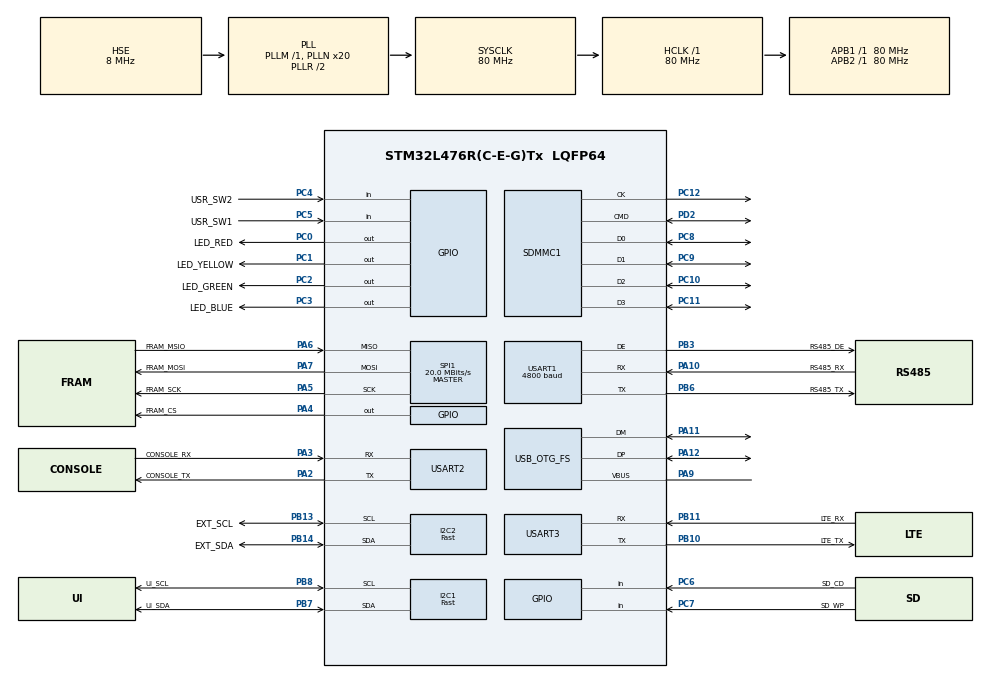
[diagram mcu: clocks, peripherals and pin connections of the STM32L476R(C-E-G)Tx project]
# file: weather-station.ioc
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CRC.CRCLength=CRC_POLYLENGTH_16B
CRC.DefaultInitValueUse=DEFAULT_INIT_VALUE_DISABLE
CRC.DefaultPolynomialUse=DEFAULT_POLYNOMIAL_DISABLE
CRC.GeneratingPolynomial=X15+X2+X0
CRC.InitValue=65535
Dma.Request0=SDMMC1_RX
Dma.Request1=SDMMC1_TX
Dma.Request2=USART1_RX
Dma.Request3=USART1_TX
Dma.Request4=USART2_RX
Dma.Request5=USART2_TX
Dma.Request6=USART3_RX
Dma.Request7=USART3_TX
Dma.SDMMC1_RX.0.Direction=DMA_PERIPH_TO_MEMORY
Dma.SDMMC1_RX.0.Instance=DMA2_Channel4
Dma.SDMMC1_RX.0.MemDataAlignment=DMA_MDATAALIGN_WORD
Dma.SDMMC1_RX.0.MemInc=DMA_MINC_ENABLE
Dma.SDMMC1_RX.0.Mode=DMA_NORMAL
Dma.SDMMC1_RX.0.PeriphDataAlignment=DMA_PDATAALIGN_WORD
Dma.SDMMC1_RX.0.PeriphInc=DMA_PINC_DISABLE
Dma.SDMMC1_RX.0.Priority=DMA_PRIORITY_LOW
Dma.SDMMC1_TX.1.Direction=DMA_MEMORY_TO_PERIPH
Dma.SDMMC1_TX.1.Instance=DMA2_Channel5
Dma.SDMMC1_TX.1.MemDataAlignment=DMA_MDATAALIGN_WORD
Dma.SDMMC1_TX.1.MemInc=DMA_MINC_ENABLE
Dma.SDMMC1_TX.1.Mode=DMA_NORMAL
Dma.SDMMC1_TX.1.PeriphDataAlignment=DMA_PDATAALIGN_WORD
Dma.SDMMC1_TX.1.PeriphInc=DMA_PINC_DISABLE
Dma.SDMMC1_TX.1.Priority=DMA_PRIORITY_LOW
Dma.USART1_RX.2.Direction=DMA_PERIPH_TO_MEMORY
Dma.USART1_RX.2.Instance=DMA1_Channel5
Dma.USART1_RX.2.MemDataAlignment=DMA_MDATAALIGN_BYTE
Dma.USART1_RX.2.MemInc=DMA_MINC_ENABLE
Dma.USART1_RX.2.Mode=DMA_CIRCULAR
Dma.USART1_RX.2.PeriphDataAlignment=DMA_PDATAALIGN_BYTE
Dma.USART1_RX.2.PeriphInc=DMA_PINC_DISABLE
Dma.USART1_RX.2.Priority=DMA_PRIORITY_LOW
Dma.USART1_TX.3.Direction=DMA_MEMORY_TO_PERIPH
Dma.USART1_TX.3.Instance=DMA1_Channel4
Dma.USART1_TX.3.MemDataAlignment=DMA_MDATAALIGN_BYTE
Dma.USART1_TX.3.MemInc=DMA_MINC_ENABLE
Dma.USART1_TX.3.Mode=DMA_NORMAL
Dma.USART1_TX.3.PeriphDataAlignment=DMA_PDATAALIGN_BYTE
Dma.USART1_TX.3.PeriphInc=DMA_PINC_DISABLE
Dma.USART1_TX.3.Priority=DMA_PRIORITY_LOW
Dma.USART2_RX.4.Direction=DMA_PERIPH_TO_MEMORY
Dma.USART2_RX.4.Instance=DMA1_Channel6
Dma.USART2_RX.4.MemDataAlignment=DMA_MDATAALIGN_BYTE
Dma.USART2_RX.4.MemInc=DMA_MINC_ENABLE
Dma.USART2_RX.4.Mode=DMA_CIRCULAR
Dma.USART2_RX.4.PeriphDataAlignment=DMA_PDATAALIGN_BYTE
Dma.USART2_RX.4.PeriphInc=DMA_PINC_DISABLE
Dma.USART2_RX.4.Priority=DMA_PRIORITY_LOW
Dma.USART2_TX.5.Direction=DMA_MEMORY_TO_PERIPH
Dma.USART2_TX.5.Instance=DMA1_Channel7
Dma.USART2_TX.5.MemDataAlignment=DMA_MDATAALIGN_BYTE
Dma.USART2_TX.5.MemInc=DMA_MINC_ENABLE
Dma.USART2_TX.5.Mode=DMA_NORMAL
Dma.USART2_TX.5.PeriphDataAlignment=DMA_PDATAALIGN_BYTE
Dma.USART2_TX.5.PeriphInc=DMA_PINC_DISABLE
Dma.USART2_TX.5.Priority=DMA_PRIORITY_LOW
Dma.USART3_RX.6.Direction=DMA_PERIPH_TO_MEMORY
Dma.USART3_RX.6.Instance=DMA1_Channel3
Dma.USART3_RX.6.MemDataAlignment=DMA_MDATAALIGN_BYTE
Dma.USART3_RX.6.MemInc=DMA_MINC_ENABLE
Dma.USART3_RX.6.Mode=DMA_CIRCULAR
Dma.USART3_RX.6.PeriphDataAlignment=DMA_PDATAALIGN_BYTE
Dma.USART3_RX.6.PeriphInc=DMA_PINC_DISABLE
Dma.USART3_RX.6.Priority=DMA_PRIORITY_LOW
Dma.USART3_TX.7.Direction=DMA_MEMORY_TO_PERIPH
Dma.USART3_TX.7.Instance=DMA1_Channel2
Dma.USART3_TX.7.MemDataAlignment=DMA_MDATAALIGN_BYTE
Dma.USART3_TX.7.MemInc=DMA_MINC_ENABLE
Dma.USART3_TX.7.Mode=DMA_NORMAL
Dma.USART3_TX.7.PeriphDataAlignment=DMA_PDATAALIGN_BYTE
Dma.USART3_TX.7.PeriphInc=DMA_PINC_DISABLE
Dma.USART3_TX.7.Priority=DMA_PRIORITY_LOW
FATFS.BSP.number=1
FATFS._FS_EXFAT=1
FATFS._FS_RPATH=2
FATFS._LFN_UNICODE=1
FATFS._MULTI_PARTITION=1
FATFS._USE_LFN=2
FATFS._USE_MUTEX=1
FATFS._USE_TRIM=1
FATFS0.BSP.STBoard=false
FATFS0.BSP.api=Unknown
FATFS0.BSP.instance=PC6
FATFS0.BSP.ip=GPIO
FATFS0.BSP.mode=Input
FATFS0.BSP.name=Detect_SDIO
FATFS0.BSP.solution=PC6
FREERTOS.Tasks01=defaultTask,24,128,StartDefaultTask,Default,NULL,Dynamic,NULL,NULL;UsbLoop,40,512,UsbLoopTask,Default,NULL,Dynamic,NULL,NULL
FREERTOS.configENABLE_FPU=1
FREERTOS.configTOTAL_HEAP_SIZE=65536
FREERTOS.configUSE_NEWLIB_REENTRANT=1
I2C1.I2C_Speed_Mode=I2C_Fast
I2C1.Timing=0x00F12981
I2C2.I2C_Speed_Mode=I2C_Fast
I2C2.Timing=0x00F12981
Mcu.Family=STM32L4
Mcu.Name=STM32L476R(C-E-G)Tx
Mcu.Package=LQFP64
NVIC.DMA1_Channel2_IRQn=true\:7\:0\:true\:false\:true\:true\:false\:true\:true
NVIC.DMA1_Channel3_IRQn=true\:7\:0\:true\:false\:true\:true\:false\:true\:true
NVIC.DMA1_Channel4_IRQn=true\:7\:0\:true\:false\:true\:true\:false\:true\:true
NVIC.DMA1_Channel5_IRQn=true\:7\:0\:true\:false\:true\:true\:false\:true\:true
NVIC.DMA1_Channel6_IRQn=true\:7\:0\:true\:false\:true\:true\:false\:true\:true
NVIC.DMA1_Channel7_IRQn=true\:7\:0\:true\:false\:true\:true\:false\:true\:true
NVIC.DMA2_Channel4_IRQn=true\:5\:0\:false\:false\:true\:true\:false\:true\:true
NVIC.DMA2_Channel5_IRQn=true\:5\:0\:false\:false\:true\:true\:false\:true\:true
NVIC.OTG_FS_IRQn=true\:5\:0\:false\:false\:true\:true\:true\:true\:true
NVIC.PriorityGroup=NVIC_PRIORITYGROUP_4
NVIC.RTC_WKUP_IRQn=true\:5\:0\:false\:false\:true\:true\:true\:true\:true
NVIC.SDMMC1_IRQn=true\:5\:0\:false\:false\:true\:true\:true\:true\:true
NVIC.TIM1_TRG_COM_TIM17_IRQn=true\:15\:0\:false\:false\:true\:false\:false\:true\:true
NVIC.TimeBase=TIM1_TRG_COM_TIM17_IRQn
NVIC.TimeBaseIP=TIM17
NVIC.USART1_IRQn=true\:7\:0\:true\:false\:true\:true\:true\:true\:true
NVIC.USART2_IRQn=true\:7\:0\:true\:false\:true\:true\:true\:true\:true
NVIC.USART3_IRQn=true\:7\:0\:true\:false\:true\:true\:true\:true\:true
PA10.GPIO_Label=RS485_RX
PA10.Mode=Asynchronous
PA10.Signal=USART1_RX
PA11.Mode=Device_Only
PA11.Signal=USB_OTG_FS_DM
PA12.Mode=Device_Only
PA12.Signal=USB_OTG_FS_DP
PA13\ (JTMS-SWDIO).Mode=Serial_Wire
PA13\ (JTMS-SWDIO).Signal=SYS_JTMS-SWDIO
PA14\ (JTCK-SWCLK).Mode=Serial_Wire
PA14\ (JTCK-SWCLK).Signal=SYS_JTCK-SWCLK
PA2.GPIO_Label=CONSOLE_TX
PA2.Mode=Asynchronous
PA2.Signal=USART2_TX
PA3.GPIO_Label=CONSOLE_RX
PA3.Mode=Asynchronous
PA3.Signal=USART2_RX
PA4.GPIO_Label=FRAM_CS
PA4.GPIO_Speed=GPIO_SPEED_FREQ_VERY_HIGH
PA4.PinState=GPIO_PIN_SET
PA4.Signal=GPIO_Output
PA5.GPIO_Label=FRAM_SCK
PA5.Mode=Full_Duplex_Master
PA5.Signal=SPI1_SCK
PA6.GPIO_Label=FRAM_MSIO
PA6.Mode=Full_Duplex_Master
PA6.Signal=SPI1_MISO
PA7.GPIO_Label=FRAM_MOSI
PA7.Mode=Full_Duplex_Master
PA7.Signal=SPI1_MOSI
PA9.Mode=Activate_VBUS
PA9.Signal=USB_OTG_FS_VBUS
PB10.GPIO_Label=LTE_TX
PB10.Mode=Asynchronous
PB10.Signal=USART3_TX
PB11.GPIO_Label=LTE_RX
PB11.Mode=Asynchronous
PB11.Signal=USART3_RX
PB13.GPIO_Label=EXT_SCL
PB13.Mode=I2C
PB13.Signal=I2C2_SCL
PB14.GPIO_Label=EXT_SDA
PB14.Mode=I2C
PB14.Signal=I2C2_SDA
PB3\ (JTDO-TRACESWO).GPIO_Label=RS485_DE
PB3\ (JTDO-TRACESWO).Mode=Hardware Flow Control (RS485)
PB3\ (JTDO-TRACESWO).Signal=USART1_DE
PB6.GPIO_FM6=__NULL
PB6.GPIO_Label=RS485_TX
PB6.Mode=Asynchronous
PB6.Signal=USART1_TX
PB7.GPIO_Label=UI_SDA
PB7.Mode=I2C
PB7.Signal=I2C1_SDA
PB8.GPIO_Label=UI_SCL
PB8.Mode=I2C
PB8.Signal=I2C1_SCL
PC0.GPIO_Label=LED_RED
PC0.Signal=GPIO_Output
PC1.GPIO_Label=LED_YELLOW
PC1.Signal=GPIO_Output
PC10.GPIO_PuPd=GPIO_NOPULL
PC10.Mode=SD_4_bits_Wide_bus
PC10.Signal=SDMMC1_D2
PC11.GPIO_PuPd=GPIO_NOPULL
PC11.Mode=SD_4_bits_Wide_bus
PC11.Signal=SDMMC1_D3
PC12.GPIO_PuPd=GPIO_NOPULL
PC12.Mode=SD_4_bits_Wide_bus
PC12.Signal=SDMMC1_CK
PC14-OSC32_IN\ (PC14).Mode=LSE-External-Clock-Source
PC14-OSC32_IN\ (PC14).Signal=RCC_OSC32_IN
PC2.GPIO_Label=LED_GREEN
PC2.Signal=GPIO_Output
PC3.GPIO_Label=LED_BLUE
PC3.Signal=GPIO_Output
PC4.GPIO_Label=USR_SW2
PC4.GPIO_PuPd=GPIO_PULLUP
PC4.Signal=GPIO_Input
PC5.GPIO_Label=USR_SW1
PC5.GPIO_PuPd=GPIO_PULLUP
PC5.Signal=GPIO_Input
PC6.GPIO_Label=SD_CD
PC6.GPIO_PuPd=GPIO_NOPULL
PC6.Signal=GPIO_Input
PC7.GPIO_Label=SD_WP
PC7.GPIO_PuPd=GPIO_NOPULL
PC7.Signal=GPIO_Input
PC8.GPIO_PuPd=GPIO_NOPULL
PC8.Mode=SD_4_bits_Wide_bus
PC8.Signal=SDMMC1_D0
PC9.GPIO_PuPd=GPIO_NOPULL
PC9.Mode=SD_4_bits_Wide_bus
PC9.Signal=SDMMC1_D1
PD2.GPIO_PuPd=GPIO_NOPULL
PD2.Mode=SD_4_bits_Wide_bus
PD2.Signal=SDMMC1_CMD
PH0-OSC_IN\ (PH0).Mode=HSE-External-Clock-Source
PH0-OSC_IN\ (PH0).Signal=RCC_OSC_IN
ProjectManager.HeapSize=0x600
ProjectManager.StackSize=0xC00
ProjectManager.TargetToolchain=STM32CubeIDE
RCC.ADCFreq_Value=48000000
RCC.AHBFreq_Value=80000000
RCC.APB1Freq_Value=80000000
RCC.APB1TimFreq_Value=80000000
RCC.APB2Freq_Value=80000000
RCC.APB2TimFreq_Value=80000000
RCC.CortexFreq_Value=80000000
RCC.HCLKFreq_Value=80000000
RCC.HSE_VALUE=8000000
RCC.HSI_VALUE=16000000
RCC.LSE_Drive_CapabilityArg=+LSE_Drive_Capability
RCC.LSE_VALUE=32768
RCC.MSIAutoCalibration=DISABLED
RCC.MSI_VALUE=4000000
RCC.PLLN=20
RCC.PLLSAI1N=12
RCC.PLLSAI2N=10
RCC.PLLSourceVirtual=RCC_PLLSOURCE_HSE
RCC.PREFETCH_ENABLE=1
RCC.RTCClockSelection=RCC_RTCCLKSOURCE_LSE
RCC.SYSCLKFreq_VALUE=80000000
RCC.SYSCLKSource=RCC_SYSCLKSOURCE_PLLCLK
RCC.USBFreq_Value=48000000
RCC.VCOOutputFreq_Value=160000000
RTC.Format=RTC_FORMAT_BIN
RTC.WakeUpClock-WakeUp=RTC_WAKEUPCLOCK_CK_SPRE_16BITS
RTC.WeekDay=RTC_WEEKDAY_THURSDAY
RTC.Year=26
SPI1.BaudRatePrescaler=SPI_BAUDRATEPRESCALER_4
SPI1.CalculateBaudRate=20.0 MBits/s
SPI1.DataSize=SPI_DATASIZE_8BIT
SPI1.Direction=SPI_DIRECTION_2LINES
SPI1.Mode=SPI_MODE_MASTER
SPI1.VirtualType=VM_MASTER
USART1.BaudRate=4800
USART1.VirtualMode-Asynchronous=VM_ASYNC
USART1.VirtualMode-Hardware\ Flow\ Control\ (RS485)=VM_ASYNC
USART2.VirtualMode-Asynchronous=VM_ASYNC
USART3.VirtualMode-Asynchronous=VM_ASYNC
USB_OTG_FS.VirtualMode=Device_Only
USB_OTG_FS.battery_charging_enable=DISABLE
VP_CRC_VS_CRC.Mode=CRC_Activate
VP_FATFS_VS_SDIO.Mode=SDIO
VP_FREERTOS_VS_CMSIS_V2.Mode=CMSIS_V2
VP_RTC_VS_RTC_Activate.Mode=RTC_Enabled
VP_RTC_VS_RTC_Calendar.Mode=RTC_Calendar
VP_RTC_VS_RTC_WakeUp_intern.Mode=WakeUp
VP_SYS_VS_tim17.Mode=TIM17
board=custom

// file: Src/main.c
/* USER CODE BEGIN Header */
/**
 ******************************************************************************
 * @file           : main.c
 * @brief          : Main program body
 ******************************************************************************
 * @attention
 *
 * Copyright (c) 2026 STMicroelectronics.
 * All rights reserved.
 *
 * This software is licensed under terms that can be found in the LICENSE file
 * in the root directory of this software component.
 * If no LICENSE file comes with this software, it is provided AS-IS.
 *
 ******************************************************************************
 */
/* USER CODE END Header */
#include "main.h"
#include "cmsis_os.h"
#include "crc.h"
#include "dma.h"
#include "fatfs.h"
#include "i2c.h"
#include "rtc.h"
#include "sdmmc.h"
#include "spi.h"
#include "usart.h"
#include "usb_otg.h"
#include "gpio.h"

/* USER CODE BEGIN Includes */
#include <stdio.h>
/* USER CODE END Includes */

/* USER CODE BEGIN PV */
static IWDG_HandleTypeDef hiwdg_boot;  /* feed bootloader's IWDG during init */
/* USER CODE END PV */

void SystemClock_Config(void);
void PeriphCommonClock_Config(void);
void MX_FREERTOS_Init(void);

int main(void)
{

  /* USER CODE BEGIN 1 */

  /* Relocate vector table to the application offset (skip boot loader) */
  SCB->VTOR = 0x8000ul; // Change 0x8000ul to match your offset

  /* Re-initialise IWDG with same config as bootloader (4s timeout).
   * This gives the app time to complete init before WatchdogTask takes over.
   * Note: HAL_IWDG_Init() reconfigures PR/RLR but does NOT reload the
   * down-counter — must call HAL_IWDG_Refresh() right after to reload it. */
  // hiwdg_boot.Instance             = IWDG;
  // hiwdg_boot.Init.Prescaler       = IWDG_PRESCALER_64;
  // hiwdg_boot.Init.Reload          = 2000u;
  // hiwdg_boot.Init.Window          = IWDG_WINDOW_DISABLE;
  // HAL_IWDG_Init(&hiwdg_boot);
  // HAL_IWDG_Refresh(&hiwdg_boot);
  /* USER CODE END 1 */

  /* MCU Configuration--------------------------------------------------------*/

  /* Reset of all peripherals, Initializes the Flash interface and the Systick. */
  HAL_Init();

  /* USER CODE BEGIN Init */
  __enable_irq();                 /* Enable interrupts so TIM17 timebase ticks */
  //HAL_IWDG_Refresh(&hiwdg_boot);
  /* USER CODE END Init */

  /* Configure the system clock */
  SystemClock_Config();

  /* Configure the peripherals common clocks */
  PeriphCommonClock_Config();

  /* USER CODE BEGIN SysInit */
  __HAL_FLASH_PREFETCH_BUFFER_ENABLE();
  /* USER CODE END SysInit */

  /* Initialize all configured peripherals */
  MX_GPIO_Init();
  MX_DMA_Init();
  MX_RTC_Init();
  MX_I2C1_Init();
  MX_I2C2_Init();
  MX_SDMMC1_SD_Init();
  MX_USART1_UART_Init();
  MX_USART2_UART_Init();
  MX_FATFS_Init();
  MX_SPI1_Init();
  MX_USART3_UART_Init();
  MX_USB_OTG_FS_PCD_Init();
  MX_CRC_Init();
  /* USER CODE BEGIN 2 */
  HAL_IWDG_Refresh(&hiwdg_boot);
  LED_DEBUG_GREEN_ON();  /* green LED = app reached main() */
  /* USER CODE END 2 */

  /* Init scheduler */
  osKernelInitialize();  /* Call init function for freertos objects (in cmsis_os2.c) */
  MX_FREERTOS_Init();

  /* Start scheduler */
  osKernelStart();

  /* We should never get here as control is now taken by the scheduler */

  /* Infinite loop */
    while (1)
    {

    }
}

void SystemClock_Config(void)
{
  RCC_OscInitTypeDef RCC_OscInitStruct = {0};
  RCC_ClkInitTypeDef RCC_ClkInitStruct = {0};

  /** Configure the main internal regulator output voltage
  */
  if (HAL_PWREx_ControlVoltageScaling(PWR_REGULATOR_VOLTAGE_SCALE1) != HAL_OK)
  {
    Error_Handler();
  }

  /** Initializes the RCC Oscillators according to the specified parameters
  * in the RCC_OscInitTypeDef structure.
  */
  RCC_OscInitStruct.OscillatorType = RCC_OSCILLATORTYPE_HSE|RCC_OSCILLATORTYPE_LSE;
  RCC_OscInitStruct.HSEState = RCC_HSE_BYPASS;
  RCC_OscInitStruct.LSEState = RCC_LSE_BYPASS;
  RCC_OscInitStruct.PLL.PLLState = RCC_PLL_ON;
  RCC_OscInitStruct.PLL.PLLSource = RCC_PLLSOURCE_HSE;
  RCC_OscInitStruct.PLL.PLLM = 1;
  RCC_OscInitStruct.PLL.PLLN = 20;
  RCC_OscInitStruct.PLL.PLLP = RCC_PLLP_DIV7;
  RCC_OscInitStruct.PLL.PLLQ = RCC_PLLQ_DIV2;
  RCC_OscInitStruct.PLL.PLLR = RCC_PLLR_DIV2;
  if (HAL_RCC_OscConfig(&RCC_OscInitStruct) != HAL_OK)
  {
    Error_Handler();
  }

  /** Initializes the CPU, AHB and APB buses clocks
  */
  RCC_ClkInitStruct.ClockType = RCC_CLOCKTYPE_HCLK|RCC_CLOCKTYPE_SYSCLK
                              |RCC_CLOCKTYPE_PCLK1|RCC_CLOCKTYPE_PCLK2;
  RCC_ClkInitStruct.SYSCLKSource = RCC_SYSCLKSOURCE_PLLCLK;
  RCC_ClkInitStruct.AHBCLKDivider = RCC_SYSCLK_DIV1;
  RCC_ClkInitStruct.APB1CLKDivider = RCC_HCLK_DIV1;
  RCC_ClkInitStruct.APB2CLKDivider = RCC_HCLK_DIV1;

  if (HAL_RCC_ClockConfig(&RCC_ClkInitStruct, FLASH_LATENCY_4) != HAL_OK)
  {
    Error_Handler();
  }
}

void PeriphCommonClock_Config(void)
{
  RCC_PeriphCLKInitTypeDef PeriphClkInit = {0};

  /** Initializes the peripherals clock
  */
  PeriphClkInit.PeriphClockSelection = RCC_PERIPHCLK_USB|RCC_PERIPHCLK_SDMMC1;
  PeriphClkInit.UsbClockSelection = RCC_USBCLKSOURCE_PLLSAI1;
  PeriphClkInit.Sdmmc1ClockSelection = RCC_SDMMC1CLKSOURCE_PLLSAI1;
  PeriphClkInit.PLLSAI1.PLLSAI1Source = RCC_PLLSOURCE_HSE;
  PeriphClkInit.PLLSAI1.PLLSAI1M = 1;
  PeriphClkInit.PLLSAI1.PLLSAI1N = 12;
  PeriphClkInit.PLLSAI1.PLLSAI1P = RCC_PLLP_DIV7;
  PeriphClkInit.PLLSAI1.PLLSAI1Q = RCC_PLLQ_DIV2;
  PeriphClkInit.PLLSAI1.PLLSAI1R = RCC_PLLR_DIV2;
  PeriphClkInit.PLLSAI1.PLLSAI1ClockOut = RCC_PLLSAI1_48M2CLK;
  if (HAL_RCCEx_PeriphCLKConfig(&PeriphClkInit) != HAL_OK)
  {
    Error_Handler();
  }
}

void HAL_TIM_PeriodElapsedCallback(TIM_HandleTypeDef *htim)
{
  if (htim->Instance == TIM17)
  {
    HAL_IncTick();
  }
}

void Error_Handler(void)
{
    __disable_irq();
    while (1)
    {
    }
}

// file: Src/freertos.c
/* USER CODE BEGIN Header */
/**
 ******************************************************************************
 * File Name          : freertos.c
 * Description        : Code for freertos applications
 ******************************************************************************
 * @attention
 *
 * Copyright (c) 2026 STMicroelectronics.
 * All rights reserved.
 *
 * This software is licensed under terms that can be found in the LICENSE file
 * in the root directory of this software component.
 * If no LICENSE file comes with this software, it is provided AS-IS.
 *
 ******************************************************************************
 */
/*
 * Peripheral allocation:
 * - USART1 : RS485 Modbus RTU (Light addr = 0x01, Rain addr = 0x02)
 * - USART2 : Console port
 * - USART3 : A7670E LTE Modem
 * - I2C1   : MCP23017 (UI Interface) (addr = 0x20)
 * - I2C2   : Sensor bus (BMP390(addr=0x76) and SHT45(addr=0x44))
 * - SPI1   : FRAM (2M x 8bit)
 */
/* USER CODE END Header */

#include "FreeRTOS.h"
#include "task.h"
#include "main.h"
#include "cmsis_os.h"

/* USER CODE BEGIN Includes */
#include "ota_manager_task.h"
#include "crc.h"
#include "dma.h"
#include "fatfs.h"
#include "i2c.h"
#include "rtc.h"
#include "sdmmc.h"
#include "spi.h"
#include "usart.h"
#include "usb_otg.h"
#include "gpio.h"

#include "tusb.h"
#include "uart_subsystem.h"
#include "modbus.h"
#include "bmp390.h"
#include "sht45.h"
#include "a7670.h"
#include "ui.h"
#include "nv_database.h"
#include "weather_data.h"
#include "datetime.h"
#include "watchdog_task.h"

/* USER CODE END Includes */

/* USER CODE BEGIN PD */
#define CDC_STACK_SIZE (configMINIMAL_STACK_SIZE * (CFG_TUSB_DEBUG ? 2 : 1))

/* USER CODE END PD */

/* USER CODE BEGIN Variables */

System_Ready_Status_t system_ready_status;

/* Watchdog slot IDs for tasks defined in this file */
int8_t g_wdt_id_maintask = -1;
int8_t g_wdt_id_ssluploadtask = -1;
int8_t g_wdt_id_uitask = -1;
int8_t g_wdt_id_ucctask = -1;
int8_t g_wdt_id_cdc_task = -1;

/*
 * Global FRAM / SPI1 bus mutex.
 * Protects all cy15b116qn driver calls across every task (DB, OTA, etc.).
 * Must always be acquired BEFORE g_ota_state_mutex to avoid deadlock.
 */
static StaticSemaphore_t g_fram_spi_mutex_buf;
SemaphoreHandle_t g_fram_spi_mutex = NULL;

/* Definitions for maintask */
osThreadId_t MainTaskHandle;
const osThreadAttr_t MainTask_attributes = {
    .name = "main",
    .stack_size = 16384,     /* FATFS Requires 4192 - 8192 bytes of stack */
    .priority = (osPriority_t)osPriorityNormal,
};

/* Definitions for user-control-center task */
osThreadId_t UserControlTaskHandle;
const osThreadAttr_t UserControlTask_attributes = {
    .name = "ucc",
    .stack_size = 512,
    .priority = (osPriority_t)osPriorityNormal,
};

/* Definitions for ssl upload task */
osThreadId_t SslUploadTaskHandle;
const osThreadAttr_t SslUploadTask_attributes = {
    .name = "sslupload",
    .stack_size = 4096,
    .priority = (osPriority_t)osPriorityNormal,
};

/* Definitions for uitask */
osThreadId_t UITaskHandle;
const osThreadAttr_t UITask_attributes = {
    .name = "ui",
    .stack_size = 512 * 2,
    .priority = (osPriority_t)osPriorityNormal,
};

/* Definitions for UsbLoop */
osThreadId_t UsbCDCHandle;
const osThreadAttr_t UsbCDC_attributes = {
    .name = "cdc",
    .stack_size = 4096,
    .priority = (osPriority_t)osPriorityHigh1,
};

/* Definitions for WatchdogTask */
osThreadId_t WatchdogTaskHandle;
const osThreadAttr_t WatchdogTask_attributes = {
    .name = "watchdog",
    .stack_size = 256,
    .priority = (osPriority_t)osPriorityHigh,
};

/* Definitions for OtaManagerTask */
const osThreadAttr_t OtaManagerTask_attributes = {
    .name = "ota_mgr",
    .stack_size = 512 * 4,
    .priority = (osPriority_t)osPriorityNormal,
};

/* USER CODE END Variables */
/* Definitions for defaultTask */
osThreadId_t defaultTaskHandle;
const osThreadAttr_t defaultTask_attributes = {
    .name = "defaultTask",
    .stack_size = 128 * 4,
    .priority = (osPriority_t)osPriorityNormal,
};
/* Definitions for UsbLoop */
osThreadId_t UsbLoopHandle;
const osThreadAttr_t UsbLoop_attributes = {
    .name = "UsbLoop",
    .stack_size = 512 * 4,
    .priority = (osPriority_t)osPriorityHigh,
};

/* USER CODE BEGIN FunctionPrototypes */

extern void cdc_task(void *params);
extern void maintask(void *params);
extern void uitask(void *params);
extern void ucctask(void *params);
extern void ssluploadtask(void *params);
extern void watchdog_task(void *params);

#ifndef __PLATFORMIO__
#ifdef __GNUC__
#define PUTCHAR_PROTOTYPE int __io_putchar(int ch)
#else
#define PUTCHAR_PROTOTYPE int fputc(int ch, FILE *f)
#endif
PUTCHAR_PROTOTYPE
{
    HAL_UART_Transmit(&huart2, (uint8_t *)&ch, 1, 0xFFFF);
    return ch;
}
#else
int _write(int file, char *ptr, int len)
{
    HAL_UART_Transmit(&huart2, (uint8_t *)ptr, len, 0xFFFF);
    return len;
}
#endif

/* USER CODE END FunctionPrototypes */

void StartDefaultTask(void *argument);
void UsbLoopTask(void *argument);

void MX_FREERTOS_Init(void); /* (MISRA C 2004 rule 8.1) */

void MX_FREERTOS_Init(void)
{
    /* USER CODE BEGIN Init */
    /* Initialization stage 1 : Before RTOS scheduler.
       Minimal initialization only
    */

    /* Peripheral initialization */
    LED_DEBUG_RED_ON();
    LED_DEBUG_YELLOW_ON();
    LED_DEBUG_GREEN_ON();
    LED_DEBUG_BLUE_OFF();

    // 0. Initialize status
    system_ready_status.ui_ready = false;
    system_ready_status.usart_ready = false;
    system_ready_status.modbus_ready = false;
    system_ready_status.a7670_ready = false;
    system_ready_status.bmp390_ready = false;
    system_ready_status.sht45_ready = false;
    system_ready_status.fram_ready = false;
    system_ready_status.datetime_ready = false;
    system_ready_status.rainfall_ok = false;
    system_ready_status.light_ok = false;
    system_ready_status.sd_detected = false;
    system_ready_status.sd_write_protected = false;

    // 1. UI module
    if ((system_ready_status.ui_ready = ui_init(&hi2c1)))
    {
        LED_DEBUG_RED_OFF();
        if (ui_led_set_value(0xF0))
        {
            LED_DEBUG_YELLOW_OFF();
            ui_lcd_printXY(0, 1, "Weather Station");
        }
    }

    /* USER CODE END Init */

    /* USER CODE BEGIN RTOS_MUTEX */
    g_fram_spi_mutex = xSemaphoreCreateMutexStatic(&g_fram_spi_mutex_buf);
    configASSERT(g_fram_spi_mutex != NULL);

    /* Register tasks that are defined in this file (single-threaded context). */
    //g_wdt_id_maintask = wdt_register("maintask");
    g_wdt_id_ucctask = wdt_register("ucctask");
    //g_wdt_id_ssluploadtask = wdt_register("sslupload");
    g_wdt_id_uitask = wdt_register("uitask");
    g_wdt_id_cdc_task = wdt_register("cdc_task");

    /* USER CODE END RTOS_MUTEX */

    /* Create the thread(s) */
    /* creation of defaultTask */
    defaultTaskHandle = osThreadNew(StartDefaultTask, NULL, &defaultTask_attributes);

    /* creation of UsbLoop */
    UsbLoopHandle = osThreadNew(UsbLoopTask, NULL, &UsbLoop_attributes);

    /* USER CODE BEGIN RTOS_THREADS */
    /* add threads, ... */
    WatchdogTaskHandle = osThreadNew(watchdog_task, NULL, &WatchdogTask_attributes);
    UsbCDCHandle = osThreadNew(cdc_task, NULL, &UsbCDC_attributes);
    MainTaskHandle = osThreadNew(maintask, NULL, &MainTask_attributes);
    UITaskHandle = osThreadNew(uitask, NULL, &UITask_attributes);
    UserControlTaskHandle = osThreadNew(ucctask, NULL, &UserControlTask_attributes);
    SslUploadTaskHandle = osThreadNew(ssluploadtask, NULL, &SslUploadTask_attributes);
    OtaManagerTaskHandle = osThreadNew(ota_manager_task, NULL, &OtaManagerTask_attributes);

    /* USER CODE END RTOS_THREADS */

}

void StartDefaultTask(void *argument)
{
    /* USER CODE BEGIN StartDefaultTask */
    /* Infinite loop — kick every 400 ms (well within the 500 ms WDT window) */
    for (;;)
    {
        // wdt_kick(g_wdt_id_default);
        osDelay(400);
    }
    /* USER CODE END StartDefaultTask */
}

void UsbLoopTask(void *argument)
{
    /* USER CODE BEGIN UsbLoopTask */

    // init device stack on configured roothub port
    // This should be called after scheduler/kernel is started.
    // Otherwise it could cause kernel issue since USB IRQ handler does use RTOS queue API.
    tusb_rhport_init_t dev_init = {
        .role = TUSB_ROLE_DEVICE,
        .speed = TUSB_SPEED_AUTO};
    tusb_init(BOARD_TUD_RHPORT, &dev_init);

    // board_init_after_tusb();

    /* Infinite loop */
    for (;;)
    {
        // put this thread to waiting state until there is new events
        tud_task();

        // following code only run if tud_task() process at least 1 event
        tud_cdc_write_flush();
    }
    /* USER CODE END UsbLoopTask */
}

/* USER CODE BEGIN Application */
void my_delay(uint32_t ms)
{
    // Check if the RTOS kernel is running
    if (osKernelGetState() == osKernelRunning)
    {
        // CMSIS-RTOS v2 handles the ms conversion internally
        osDelay(ms);
    }
    else
    {
        HAL_Delay(ms);
    }
}
/* USER CODE END Application */
